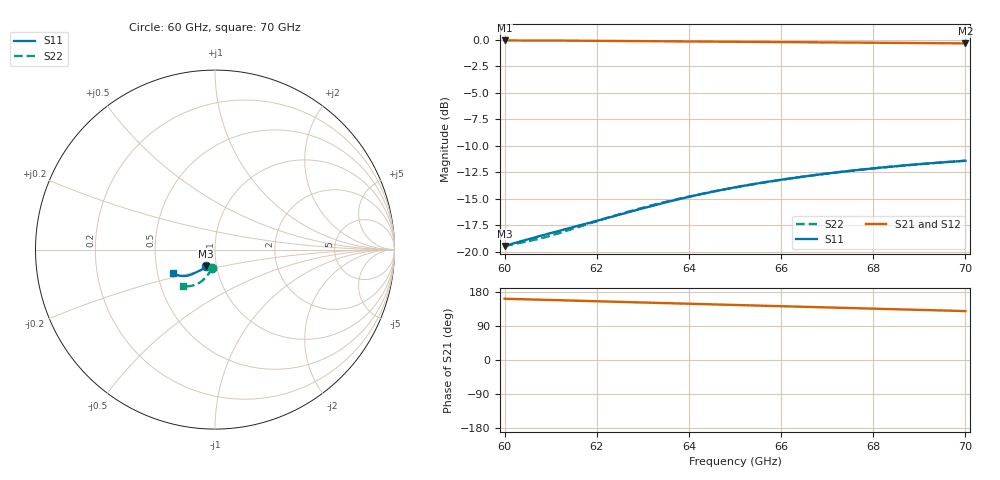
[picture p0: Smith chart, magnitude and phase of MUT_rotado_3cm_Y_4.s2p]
! TOUCHSTONE file generated by CST MICROWAVE STUDIO
! Date and time: Wed Feb 21 09:08:37 2024
! Project name: material_prueba.cst
! Parameters = {Y=0.75}
! Header version: 2018
! Port assignment regex: !\s*Touchstone port\s*([0-9]+)\s*=\s*(CST MWS port|CST DS port)\s*([0-9]+|Zmin|Zmax)\s*\(\"(.*)\"\)(\s*mode\s*([0-9]+))?.*
! Touchstone port assignment:
! Touchstone port 1 = CST MWS port 1 ("")
! Touchstone port 2 = CST MWS port 2 ("")
# GHz S MA R 376.7
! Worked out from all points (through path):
!   1001 points, 60 GHz to 70 GHz, reference 376.7 ohm
!   highest |S21| = -0.05 dB at 60 GHz (marker M1); lowest = -0.3 dB at 70 GHz (marker M2)
!   group delay of S21, straight-line fit = 9.03 ps
!   lowest |S11| = -19.5 dB at 60 GHz (marker M3), VSWR 1.24, Z = 334 - j63.2 ohm
!   |S11| at or under -10 dB: start of sweep to end of sweep
!   |S22| runs from -19.5 to -11.4 dB; largest |S21 - S12| = 0.00072
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60  0.1064 -118.7  0.9942 161.7  0.9945 161.7  0.1062 -98.0
60.05  0.1072 -118.8  0.9942 161.5  0.9944 161.5  0.1068 -97.9
60.42  0.113 -119.7  0.9938 160.2  0.994 160.3  0.1111 -98.0
60.65  0.1167 -120.3  0.9935 159.5  0.9936 159.5  0.1138 -98.7
60.85  0.12 -120.9  0.9931 158.8  0.9932 158.8  0.1166 -99.5
61.17  0.1252 -121.9  0.9925 157.7  0.9925 157.7  0.1221 -101.1
61.67  0.1338 -123.8  0.9912 156.1  0.9911 156.1  0.1323 -103.4
62.12  0.1422 -125.6  0.9899 154.6  0.9898 154.6  0.1421 -105.1
62.52  0.1501 -127.2  0.9886 153.3  0.9885 153.3  0.151 -106.5
62.92  0.1585 -128.7  0.9872 152.0  0.9871 152.0  0.1596 -107.8
63.34  0.1676 -130.1  0.9857 150.6  0.9856 150.6  0.1686 -109.2
63.76  0.1766 -131.4  0.9841 149.2  0.9841 149.2  0.1772 -110.5
64.17  0.1851 -132.6  0.9826 147.9  0.9826 147.9  0.1854 -111.9
64.58  0.1933 -133.8  0.981 146.6  0.9811 146.6  0.1934 -113.2
65  0.2013 -135.0  0.9794 145.2  0.9796 145.2  0.2012 -114.7
65.39  0.2083 -136.1  0.9779 143.9  0.9782 143.9  0.2082 -116.0
65.8  0.2154 -137.3  0.9763 142.6  0.9767 142.6  0.2152 -117.4
66.67  0.2292 -140.0  0.9732 139.8  0.9737 139.8  0.229 -120.3
67.49  0.2408 -142.7  0.9703 137.2  0.9709 137.2  0.2407 -123.0
68.34  0.2515 -145.5  0.9676 134.4  0.9682 134.4  0.2515 -125.8
69.18  0.2609 -148.2  0.9652 131.7  0.9656 131.7  0.2609 -128.4
70  0.2688 -150.9  0.9632 129.1  0.9631 129.1  0.2688 -130.9
